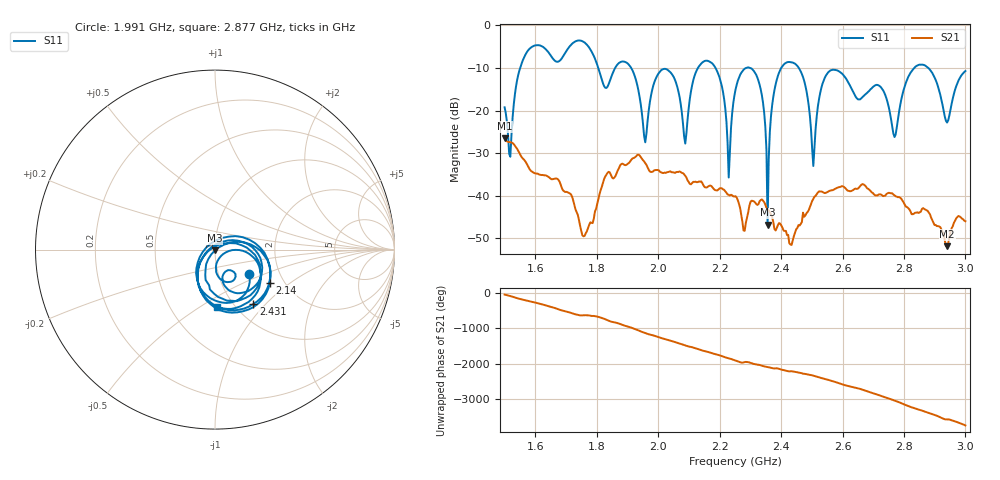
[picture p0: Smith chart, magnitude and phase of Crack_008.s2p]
# HZ S RI R 50
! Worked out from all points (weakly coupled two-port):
!   404 points, 1.5 GHz to 3 GHz, reference 50 ohm
!   highest |S21| = -26.54 dB at 1.5 GHz (marker M1); lowest = -51.9 dB at 2.94 GHz (marker M2)
!   lowest |S11| = -46.8 dB at 2.356 GHz (marker M3), VSWR 1.01, Z = 49.9 - j0.45 ohm
!   |S11| at or under -10 dB: 1.912 GHz to 2.129 GHz (217.2 MHz wide, 10.7 % of centre); 2.458 GHz to 2.834 GHz (375.8 MHz wide, 14.2 % of centre); 2.879 GHz to end of sweep (the widest 3 of 7)
!   S12 and S22 are empty: the file has one direction only
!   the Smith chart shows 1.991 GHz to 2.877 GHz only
!   S11 on the Smith chart (normalised r, x): 1.991 GHz: 1.41, -0.40; 2.14 GHz: 1.68, -0.72; 2.431 GHz: 1.22, -0.85; 2.877 GHz: 0.83, -0.59
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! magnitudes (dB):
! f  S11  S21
! 1.5 GHz  -19.2  -26.5
! 1.519 GHz  -30.8  -27.4
! 1.582 GHz  -5.4  -33.8
! 1.753 GHz  -3.7  -49.3
! 1.909 GHz  -9.7  -31.9
! 1.958 GHz  -27.5  -32.4
! 1.991 GHz  -12.6  -34.0
! 2.002 GHz  -11.1  -34.1
! 2.088 GHz  -27.8  -35.3
! 2.14 GHz  -8.9  -36.6
! 2.196 GHz  -11.5  -38.6
! 2.23 GHz  -35.7  -39.8
! 2.252 GHz  -15.0  -40.1
! 2.319 GHz  -11.6  -41.9
! 2.356 GHz  -46.8  -43.2
! 2.431 GHz  -8.6  -51.5
! 2.501 GHz  -29.1  -41.2
! 2.565 GHz  -10.5  -38.7
! 2.751 GHz  -19.2  -39.3
! 2.877 GHz  -9.9  -43.6
! 2.94 GHz  -22.8  -51.9
! 3 GHz  -10.7  -46.0
